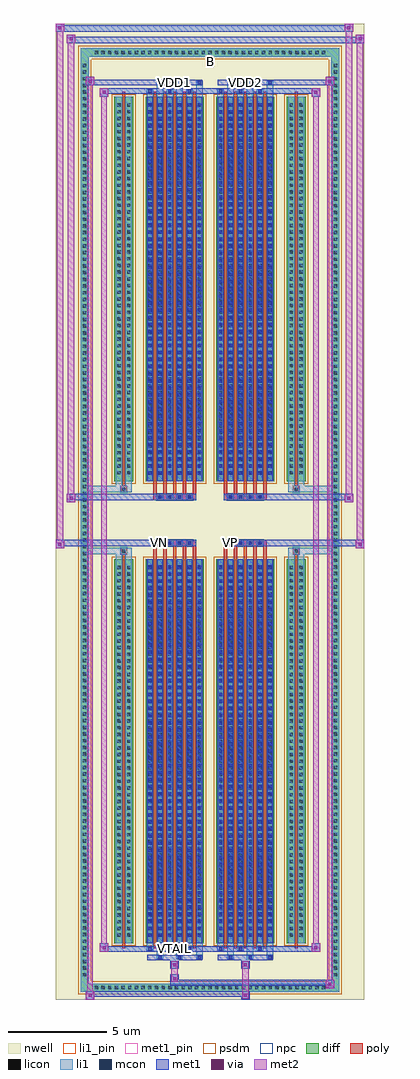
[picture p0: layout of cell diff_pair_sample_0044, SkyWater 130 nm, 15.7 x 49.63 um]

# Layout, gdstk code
import gdstk
lib = gdstk.Library(unit=1e-6, precision=5e-09)
def R(c, l, rs):  # rectangles x0, y0, x1, y1
    for r in rs: c.add(gdstk.rectangle(r[:2], r[2:], *l))
def A(c, l, x, y, w, h, nx, ny, dx, dy):  # array of equal rectangles
    R(c, l, [(x+i*dx, y+j*dy, x+i*dx+w, y+j*dy+h) for i in range(nx) for j in range(ny)])
def P(c, l, *ps):  # polygons
    for p in ps: c.add(gdstk.Polygon(p, *l))
nwell = (64, 20)
diff = (65, 20)
poly = (66, 20)
licon = (66, 44)
li1_pin = (67, 16)
li1 = (67, 20)
mcon = (67, 44)
met1_pin = (68, 16)
met1 = (68, 20)
via = (68, 44)
met2 = (69, 20)
psdm = (94, 20)
npc = (95, 20)

diff_pair_sample_0044 = lib.new_cell('diff_pair_sample_0044')
R(diff_pair_sample_0044, nwell, [(-7.85,-24.38,7.85,25.25), (-5.17,-22.57,-0.01,-0.805), (0.01,-22.57,5.17,-0.805), (-5.17,0.805,-0.01,22.57), (0.01,0.805,5.17,22.57)])
A(diff_pair_sample_0044, diff, -5.985, -23.98, 0.41, 0.41, 35, 2, 0.34, 47.55)
A(diff_pair_sample_0044, diff, -6.58, -23.325, 0.41, 0.41, 1, 137, 0, 0.34)
A(diff_pair_sample_0044, diff, 6.17, -23.325, 0.41, 0.41, 1, 137, 0, 0.34)
R(diff_pair_sample_0044, diff, [(-5.985,-23.98,5.985,-23.57), (-6.58,-23.325,-6.17,23.325), (6.17,-23.325,6.58,23.325), (-4.86,-21.525,-3.91,-1.985), (-3.27,-21.525,-0.32,-1.985), (0.32,-21.525,3.27,-1.985), (3.91,-21.525,4.86,-1.985), (-4.86,1.985,-3.91,21.525), (-3.27,1.985,-0.32,21.525), (0.32,1.985,3.27,21.525), (3.91,1.985,4.86,21.525), (-5.985,23.57,5.985,23.98)])
P(diff_pair_sample_0044, diff, [(6.58,23.98),(-6.58,23.98),(-6.58,-23.57),(-6.17,-23.57),(-6.17,23.57),(6.17,23.57),(6.17,-23.57),(-6.17,-23.57),(-6.58,-23.57),(-6.58,-23.98),(6.58,-23.98)])
A(diff_pair_sample_0044, poly, -2.88, -21.775, 0.17, 20.04, 5, 2, 0.5, 23.51)
A(diff_pair_sample_0044, poly, 0.71, -21.775, 0.17, 20.04, 5, 2, 0.5, 23.51)
A(diff_pair_sample_0044, poly, -2.88, -1.735, 0.17, 0.4, 5, 2, 0.5, 3.07)
A(diff_pair_sample_0044, poly, 0.71, -1.735, 0.17, 0.4, 5, 2, 0.5, 3.07)
A(diff_pair_sample_0044, poly, -2.71, -1.335, 0.33, 0.33, 4, 2, 0.5, 2.34)
A(diff_pair_sample_0044, poly, 0.88, -1.335, 0.33, 0.33, 4, 2, 0.5, 2.34)
R(diff_pair_sample_0044, poly, [(-4.47,-21.775,-4.3,-1.735), (4.3,-21.775,4.47,-1.735), (-4.55,-1.735,-4.22,-1.405), (-4.55,-1.735,-4.22,-1.405), (4.22,-1.735,4.55,-1.405), (4.22,-1.735,4.55,-1.405), (-2.88,-1.335,-0.71,-1.005), (0.71,-1.335,2.88,-1.005), (-2.88,1.005,-0.71,1.335), (0.71,1.005,2.88,1.335), (-4.55,1.405,-4.22,1.735), (-4.55,1.405,-4.22,1.735), (4.22,1.405,4.55,1.735), (4.22,1.405,4.55,1.735), (-4.47,1.735,-4.3,21.775), (4.3,1.735,4.47,21.775)])
A(diff_pair_sample_0044, licon, -5.865, -23.86, 0.17, 0.17, 35, 2, 0.34, 47.55)
A(diff_pair_sample_0044, licon, -6.46, -23.205, 0.17, 0.17, 1, 137, 0, 0.34)
A(diff_pair_sample_0044, licon, 6.29, -23.205, 0.17, 0.17, 1, 137, 0, 0.34)
A(diff_pair_sample_0044, licon, -4.72, -21.19, 0.17, 0.17, 1, 56, 0, 0.34)
A(diff_pair_sample_0044, licon, -4.22, -21.19, 0.17, 0.17, 1, 56, 0, 0.34)
A(diff_pair_sample_0044, licon, -3.13, -21.19, 0.17, 0.17, 6, 56, 0.5, 0.34)
A(diff_pair_sample_0044, licon, 0.46, -21.19, 0.17, 0.17, 6, 56, 0.5, 0.34)
A(diff_pair_sample_0044, licon, 4.05, -21.19, 0.17, 0.17, 1, 56, 0, 0.34)
A(diff_pair_sample_0044, licon, 4.55, -21.19, 0.17, 0.17, 1, 56, 0, 0.34)
A(diff_pair_sample_0044, licon, -2.63, -1.255, 0.17, 0.17, 4, 2, 0.5, 2.34)
A(diff_pair_sample_0044, licon, 0.96, -1.255, 0.17, 0.17, 4, 2, 0.5, 2.34)
A(diff_pair_sample_0044, licon, -4.72, 2.32, 0.17, 0.17, 1, 56, 0, 0.34)
A(diff_pair_sample_0044, licon, -4.22, 2.32, 0.17, 0.17, 1, 56, 0, 0.34)
A(diff_pair_sample_0044, licon, -3.13, 2.32, 0.17, 0.17, 6, 56, 0.5, 0.34)
A(diff_pair_sample_0044, licon, 0.46, 2.32, 0.17, 0.17, 6, 56, 0.5, 0.34)
A(diff_pair_sample_0044, licon, 4.05, 2.32, 0.17, 0.17, 1, 56, 0, 0.34)
A(diff_pair_sample_0044, licon, 4.55, 2.32, 0.17, 0.17, 1, 56, 0, 0.34)
R(diff_pair_sample_0044, licon, [(-4.47,-1.655,-4.3,-1.485), (4.3,-1.655,4.47,-1.485), (-4.47,1.485,-4.3,1.655), (4.3,1.485,4.47,1.655)])
R(diff_pair_sample_0044, li1_pin, [(-0.25,23.07,0.25,23.57)])
A(diff_pair_sample_0044, li1, -5.945, -23.94, 0.33, 0.33, 35, 2, 0.34, 47.55)
A(diff_pair_sample_0044, li1, -6.54, -23.285, 0.33, 0.33, 1, 137, 0, 0.34)
A(diff_pair_sample_0044, li1, 6.21, -23.285, 0.33, 0.33, 1, 137, 0, 0.34)
A(diff_pair_sample_0044, li1, -2.71, -22.33, 0.33, 0.805, 3, 2, 1, 43.855)
A(diff_pair_sample_0044, li1, -2.63, -22.33, 0.17, 0.17, 3, 2, 1, 44.49)
A(diff_pair_sample_0044, li1, 0.88, -22.33, 0.33, 0.805, 3, 2, 1, 43.855)
A(diff_pair_sample_0044, li1, 0.96, -22.33, 0.17, 0.17, 3, 2, 1, 44.49)
A(diff_pair_sample_0044, li1, -3.21, -21.9, 0.33, 0.375, 3, 2, 1, 43.425)
A(diff_pair_sample_0044, li1, -3.13, -21.9, 0.17, 0.17, 3, 2, 1, 43.63)
A(diff_pair_sample_0044, li1, 0.38, -21.9, 0.33, 0.375, 3, 2, 1, 43.425)
A(diff_pair_sample_0044, li1, 0.46, -21.9, 0.17, 0.17, 3, 2, 1, 43.63)
A(diff_pair_sample_0044, li1, -3.21, -21.525, 0.33, 19.54, 6, 2, 0.5, 23.51)
A(diff_pair_sample_0044, li1, 0.38, -21.525, 0.33, 19.54, 6, 2, 0.5, 23.51)
A(diff_pair_sample_0044, li1, -4.8, -21.27, 0.33, 0.33, 1, 56, 0, 0.34)
A(diff_pair_sample_0044, li1, -4.3, -21.27, 0.33, 0.33, 1, 56, 0, 0.34)
A(diff_pair_sample_0044, li1, -3.21, -21.27, 0.33, 0.33, 6, 56, 0.5, 0.34)
A(diff_pair_sample_0044, li1, 0.38, -21.27, 0.33, 0.33, 6, 56, 0.5, 0.34)
A(diff_pair_sample_0044, li1, 3.97, -21.27, 0.33, 0.33, 1, 56, 0, 0.34)
A(diff_pair_sample_0044, li1, 4.47, -21.27, 0.33, 0.33, 1, 56, 0, 0.34)
A(diff_pair_sample_0044, li1, -3.13, -21.2, 0.17, 0.17, 6, 53, 0.5, 0.36)
A(diff_pair_sample_0044, li1, -3.13, -21.2, 0.17, 18.89, 6, 2, 0.5, 23.51)
A(diff_pair_sample_0044, li1, 0.46, -21.2, 0.17, 0.17, 6, 53, 0.5, 0.36)
A(diff_pair_sample_0044, li1, 0.46, -21.2, 0.17, 18.89, 6, 2, 0.5, 23.51)
A(diff_pair_sample_0044, li1, -2.71, -1.335, 0.33, 0.33, 4, 2, 0.5, 2.34)
A(diff_pair_sample_0044, li1, 0.88, -1.335, 0.33, 0.33, 4, 2, 0.5, 2.34)
A(diff_pair_sample_0044, li1, -4.8, 2.24, 0.33, 0.33, 1, 56, 0, 0.34)
A(diff_pair_sample_0044, li1, -4.3, 2.24, 0.33, 0.33, 1, 56, 0, 0.34)
A(diff_pair_sample_0044, li1, -3.21, 2.24, 0.33, 0.33, 6, 56, 0.5, 0.34)
A(diff_pair_sample_0044, li1, 0.38, 2.24, 0.33, 0.33, 6, 56, 0.5, 0.34)
A(diff_pair_sample_0044, li1, 3.97, 2.24, 0.33, 0.33, 1, 56, 0, 0.34)
A(diff_pair_sample_0044, li1, 4.47, 2.24, 0.33, 0.33, 1, 56, 0, 0.34)
A(diff_pair_sample_0044, li1, -3.13, 2.31, 0.17, 0.17, 6, 53, 0.5, 0.36)
A(diff_pair_sample_0044, li1, 0.46, 2.31, 0.17, 0.17, 6, 53, 0.5, 0.36)
R(diff_pair_sample_0044, li1, [(-6.58,-23.98,-6.17,-23.57), (-6.58,-23.98,-6.17,-23.57), (-6.17,-23.98,6.17,-23.57), (6.17,-23.98,6.58,-23.57), (6.17,-23.98,6.58,-23.57), (-6.58,-23.57,-6.17,23.57), (6.17,-23.57,6.58,23.57), (-4.8,-21.525,-4.47,-1.985), (-4.3,-21.525,-3.97,-1.985), (3.97,-21.525,4.3,-1.985), (4.47,-21.525,4.8,-1.985), (-4.8,-1.985,-4.47,-1.405), (-4.3,-1.985,-3.97,-1.405), (3.97,-1.985,4.3,-1.405), (4.47,-1.985,4.8,-1.405), (-6.58,-1.735,-4.55,-1.405), (-4.8,-1.735,-4.55,-1.405), (-4.55,-1.735,-4.22,-1.405), (-4.22,-1.735,-3.97,-1.405), (3.97,-1.735,4.22,-1.405), (4.22,-1.735,4.55,-1.405), (4.22,-1.735,6.58,-1.405), (4.55,-1.735,4.8,-1.405), (-6.58,1.405,-4.55,1.735), (-4.8,1.405,-4.55,1.735), (-4.8,1.405,-4.47,1.985), (-4.55,1.405,-4.22,1.735), (-4.3,1.405,-3.97,1.985), (-4.22,1.405,-3.97,1.735), (3.97,1.405,4.22,1.735), (3.97,1.405,4.3,1.985), (4.22,1.405,4.55,1.735), (4.22,1.405,6.58,1.735), (4.47,1.405,4.8,1.985), (4.55,1.405,4.8,1.735), (-4.8,1.985,-4.47,21.525), (-4.3,1.985,-3.97,21.525), (3.97,1.985,4.3,21.525), (4.47,1.985,4.8,21.525), (-6.58,23.57,-6.17,23.98), (-6.58,23.57,-6.17,23.98), (-6.17,23.57,6.17,23.98), (6.17,23.57,6.58,23.98), (6.17,23.57,6.58,23.98)])
A(diff_pair_sample_0044, mcon, -2.63, -22.33, 0.17, 0.17, 3, 2, 1, 44.49)
A(diff_pair_sample_0044, mcon, 0.96, -22.33, 0.17, 0.17, 3, 2, 1, 44.49)
A(diff_pair_sample_0044, mcon, -3.13, -21.9, 0.17, 0.17, 3, 2, 1, 43.63)
A(diff_pair_sample_0044, mcon, 0.46, -21.9, 0.17, 0.17, 3, 2, 1, 43.63)
A(diff_pair_sample_0044, mcon, -3.13, -21.2, 0.17, 0.17, 6, 53, 0.5, 0.36)
A(diff_pair_sample_0044, mcon, 0.46, -21.2, 0.17, 0.17, 6, 53, 0.5, 0.36)
A(diff_pair_sample_0044, mcon, -2.63, -1.255, 0.17, 0.17, 4, 2, 0.5, 2.34)
A(diff_pair_sample_0044, mcon, 0.96, -1.255, 0.17, 0.17, 4, 2, 0.5, 2.34)
A(diff_pair_sample_0044, mcon, -3.13, 2.31, 0.17, 0.17, 6, 53, 0.5, 0.36)
A(diff_pair_sample_0044, mcon, 0.46, 2.31, 0.17, 0.17, 6, 53, 0.5, 0.36)
R(diff_pair_sample_0044, met1_pin, [(-1.93,-21.94,-1.66,-21.67), (-2.68,-1.295,-2.41,-1.025), (0.91,-1.295,1.18,-1.025), (-1.93,22.12,-1.66,22.39), (1.66,22.12,1.93,22.39)])
A(diff_pair_sample_0044, met1, -2.69, -22.39, 0.29, 0.29, 3, 2, 1, 44.49)
A(diff_pair_sample_0044, met1, 0.9, -22.39, 0.29, 0.29, 3, 2, 1, 44.49)
A(diff_pair_sample_0044, met1, -3.19, -21.96, 0.29, 0.29, 3, 2, 1, 43.63)
A(diff_pair_sample_0044, met1, 0.4, -21.96, 0.29, 0.29, 3, 2, 1, 43.63)
A(diff_pair_sample_0044, met1, -3.19, -21.525, 0.29, 19.54, 6, 2, 0.5, 23.51)
A(diff_pair_sample_0044, met1, 0.4, -21.525, 0.29, 19.54, 6, 2, 0.5, 23.51)
A(diff_pair_sample_0044, met1, -3.19, -21.26, 0.29, 0.29, 6, 53, 0.5, 0.36)
A(diff_pair_sample_0044, met1, 0.4, -21.26, 0.29, 0.29, 6, 53, 0.5, 0.36)
A(diff_pair_sample_0044, met1, -2.69, -1.315, 0.29, 0.29, 4, 2, 0.5, 2.34)
A(diff_pair_sample_0044, met1, 0.9, -1.315, 0.29, 0.29, 4, 2, 0.5, 2.34)
A(diff_pair_sample_0044, met1, -3.19, 2.25, 0.29, 0.29, 6, 53, 0.5, 0.36)
A(diff_pair_sample_0044, met1, 0.4, 2.25, 0.29, 0.29, 6, 53, 0.5, 0.36)
R(diff_pair_sample_0044, met1, [(-6.31,-24.38,-5.88,-23.95), (1.58,-24.38,2.01,-23.95), (-6.31,-24.24,2.01,-23.95), (5.88,-23.81,6.31,-23.38), (-2.01,-23.67,6.31,-23.38), (-2.01,-23.53,-1.58,-23.1), (-2.01,-22.82,-1.58,-22.39), (1.58,-22.82,2.01,-22.39), (-3.19,-22.39,-0.4,-22.1), (0.4,-22.39,3.19,-22.1), (-5.6,-21.96,-5.17,-21.53), (-5.6,-21.96,-3.19,-21.67), (-3.19,-21.96,-0.4,-21.67), (-0.4,-21.96,0.4,-21.67), (0.4,-21.96,3.19,-21.67), (3.19,-21.96,5.6,-21.67), (5.17,-21.96,5.6,-21.53), (-7.85,-1.435,-7.42,-1.005), (7.42,-1.435,7.85,-1.005), (-7.85,-1.335,-0.71,-1.005), (-2.88,-1.335,-0.71,-1.005), (0.71,-1.335,2.88,-1.005), (0.71,-1.335,7.85,-1.005), (-7.28,0.905,-6.85,1.335), (6.85,0.905,7.28,1.335), (-7.28,1.005,-2.88,1.335), (-2.88,1.005,-0.71,1.335), (0.71,1.005,2.88,1.335), (2.88,1.005,7.28,1.335), (-5.6,21.53,-5.17,21.96), (5.17,21.53,5.6,21.96), (-5.6,21.67,-3.19,21.96), (-3.19,21.67,-0.4,21.96), (-0.4,21.67,0.4,21.96), (0.4,21.67,3.19,21.96), (3.19,21.67,5.6,21.96), (-6.31,22.1,-5.88,22.53), (-6.31,22.1,-3.19,22.39), (-3.19,22.1,-0.4,22.39), (0.4,22.1,3.19,22.39), (3.19,22.1,6.31,22.39), (5.88,22.1,6.31,22.53), (-7.28,24.25,-6.85,24.68), (-7.28,24.25,-5.17,24.58), (-5.17,24.25,5.17,24.58), (5.17,24.25,7.85,24.58), (7.42,24.25,7.85,24.68), (-7.85,24.82,-7.42,25.25), (-7.85,24.82,-5.17,25.15), (-5.17,24.82,5.17,25.15), (5.17,24.82,7.28,25.15), (6.85,24.82,7.28,25.25)])
R(diff_pair_sample_0044, via, [(-6.17,-24.24,-6.02,-24.09), (1.72,-24.24,1.87,-24.09), (6.02,-23.67,6.17,-23.52), (-1.87,-23.39,-1.72,-23.24), (-1.87,-22.68,-1.72,-22.53), (1.72,-22.68,1.87,-22.53), (-5.46,-21.82,-5.31,-21.67), (5.31,-21.82,5.46,-21.67), (-7.71,-1.295,-7.56,-1.145), (7.56,-1.295,7.71,-1.145), (-7.14,1.045,-6.99,1.195), (6.99,1.045,7.14,1.195), (-5.46,21.67,-5.31,21.82), (5.31,21.67,5.46,21.82), (-6.17,22.24,-6.02,22.39), (6.02,22.24,6.17,22.39), (-7.14,24.39,-6.99,24.54), (7.56,24.39,7.71,24.54), (-7.71,24.96,-7.56,25.11), (6.99,24.96,7.14,25.11)])
R(diff_pair_sample_0044, met2, [(-6.31,-24.38,-5.88,-23.95), (-6.24,-24.38,-5.95,22.53), (-5.95,-24.38,-5.88,-23.95), (-6.26,-24.33,-5.93,-24), (1.63,-24.33,1.96,-24), (1.63,-24,1.96,-22.77), (5.88,-23.81,6.31,-23.38), (5.95,-23.81,6.24,22.53), (6.24,-23.81,6.31,-23.38), (5.93,-23.76,6.26,-23.43), (-1.96,-23.48,-1.63,-23.15), (-1.96,-23.15,-1.63,-22.77), (-1.96,-22.77,-1.63,-22.44), (1.63,-22.77,1.96,-22.44), (-5.6,-21.96,-5.17,-21.53), (-5.53,-21.96,-5.24,21.96), (-5.24,-21.96,-5.17,-21.53), (5.17,-21.96,5.6,-21.53), (5.24,-21.96,5.53,21.96), (5.53,-21.96,5.6,-21.53), (-5.55,-21.91,-5.22,-21.58), (5.22,-21.91,5.55,-21.58), (-7.85,-1.435,-7.42,-1.005), (-7.8,-1.435,-7.47,25.25), (-7.47,-1.435,-7.42,-1.005), (7.42,-1.435,7.85,-1.005), (7.47,-1.435,7.8,24.68), (7.8,-1.435,7.85,-1.005), (-7.8,-1.385,-7.47,-1.055), (7.47,-1.385,7.8,-1.055), (-7.28,0.905,-6.85,1.335), (-7.23,0.905,-6.9,24.68), (-6.9,0.905,-6.85,1.335), (6.85,0.905,7.28,1.335), (6.9,0.905,7.23,25.25), (7.23,0.905,7.28,1.335), (-7.23,0.955,-6.9,1.285), (6.9,0.955,7.23,1.285), (-5.6,21.53,-5.17,21.96), (-5.24,21.53,-5.17,21.96), (5.17,21.53,5.6,21.96), (5.53,21.53,5.6,21.96), (-5.55,21.58,-5.22,21.91), (5.22,21.58,5.55,21.91), (-6.31,22.1,-5.88,22.53), (-5.95,22.1,-5.88,22.53), (5.88,22.1,6.31,22.53), (6.24,22.1,6.31,22.53), (-6.26,22.15,-5.93,22.48), (5.93,22.15,6.26,22.48), (-7.28,24.25,-6.85,24.68), (-6.9,24.25,-6.85,24.68), (7.42,24.25,7.85,24.68), (7.8,24.25,7.85,24.68), (-7.23,24.3,-6.9,24.63), (7.47,24.3,7.8,24.63), (-7.85,24.82,-7.42,25.25), (-7.47,24.82,-7.42,25.25), (6.85,24.82,7.28,25.25), (7.23,24.82,7.28,25.25), (-7.8,24.87,-7.47,25.2), (6.9,24.87,7.23,25.2)])
R(diff_pair_sample_0044, psdm, [(-4.99,-21.655,-3.78,-1.855), (-3.4,-21.655,-0.19,-1.855), (0.19,-21.655,3.4,-1.855), (3.78,-21.655,4.99,-1.855), (-4.99,1.855,-3.78,21.655), (-3.4,1.855,-0.19,21.655), (0.19,1.855,3.4,21.655), (3.78,1.855,4.99,21.655)])
P(diff_pair_sample_0044, psdm, [(6.71,24.11),(-6.71,24.11),(-6.71,-23.44),(-6.04,-23.44),(-6.04,23.44),(6.04,23.44),(6.04,-23.44),(-6.04,-23.44),(-6.71,-23.44),(-6.71,-24.11),(6.71,-24.11)])
A(diff_pair_sample_0044, npc, -2.73, -1.355, 0.37, 0.37, 4, 2, 0.5, 2.34)
A(diff_pair_sample_0044, npc, 0.86, -1.355, 0.37, 0.37, 4, 2, 0.5, 2.34)
R(diff_pair_sample_0044, npc, [(-4.57,-1.755,-4.2,-1.385), (4.2,-1.755,4.57,-1.385), (-2.73,-1.355,-1.86,-0.985), (-2.73,-1.355,-1.86,-0.985), (-2.23,-1.355,-1.36,-0.985), (-2.23,-1.355,-1.36,-0.985), (-1.73,-1.355,-0.86,-0.985), (-1.73,-1.355,-0.86,-0.985), (0.86,-1.355,1.73,-0.985), (0.86,-1.355,1.73,-0.985), (1.36,-1.355,2.23,-0.985), (1.36,-1.355,2.23,-0.985), (1.86,-1.355,2.73,-0.985), (1.86,-1.355,2.73,-0.985), (-2.73,0.985,-1.86,1.355), (-2.73,0.985,-1.86,1.355), (-2.23,0.985,-1.36,1.355), (-2.23,0.985,-1.36,1.355), (-1.73,0.985,-0.86,1.355), (-1.73,0.985,-0.86,1.355), (0.86,0.985,1.73,1.355), (0.86,0.985,1.73,1.355), (1.36,0.985,2.23,1.355), (1.36,0.985,2.23,1.355), (1.86,0.985,2.73,1.355), (1.86,0.985,2.73,1.355), (-4.57,1.385,-4.2,1.755), (4.2,1.385,4.57,1.755)])
diff_pair_sample_0044.add(gdstk.Label('VTAIL', (-1.795,-21.805), layer=68, texttype=5))
diff_pair_sample_0044.add(gdstk.Label('VN', (-2.545,-1.16), layer=68, texttype=5))
diff_pair_sample_0044.add(gdstk.Label('VP', (1.045,-1.16), layer=68, texttype=5))
diff_pair_sample_0044.add(gdstk.Label('B', (0,23.32), layer=67, texttype=5))
diff_pair_sample_0044.add(gdstk.Label('VDD2', (1.795,22.255), layer=68, texttype=5))
diff_pair_sample_0044.add(gdstk.Label('VDD1', (-1.795,22.255), layer=68, texttype=5))

lib.write_gds('diff_pair_sample_0044.gds')
